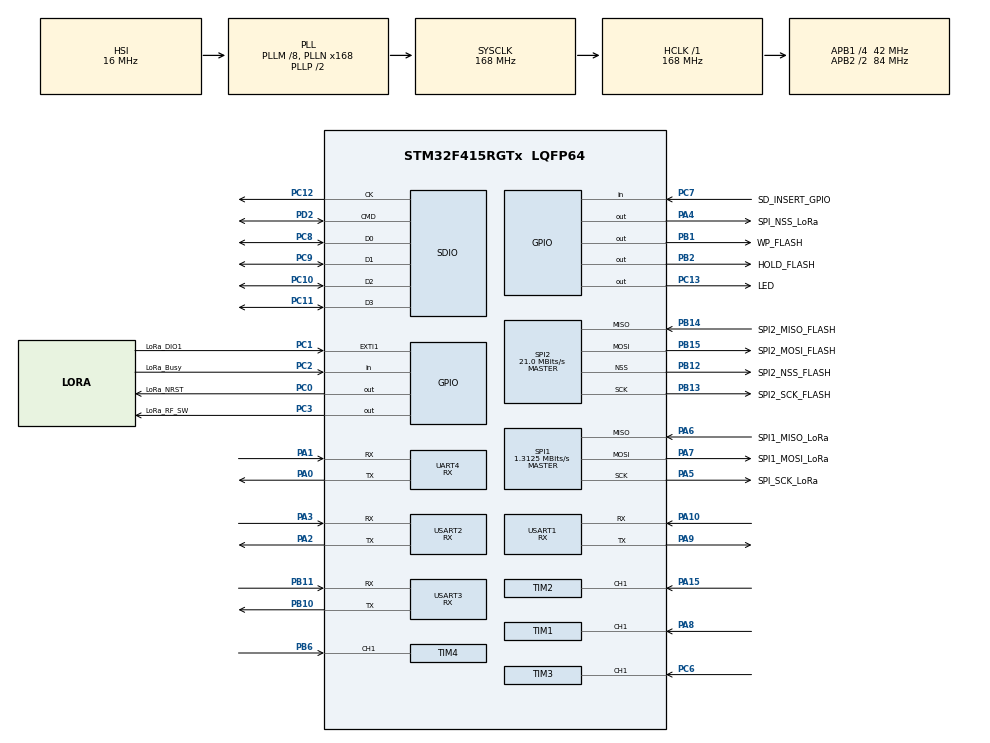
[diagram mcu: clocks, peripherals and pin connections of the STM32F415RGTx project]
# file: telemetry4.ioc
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ADC1.Channel-0\#ChannelRegularConversion=ADC_CHANNEL_VREFINT
ADC1.NbrOfConversionFlag=1
ADC1.Rank-0\#ChannelRegularConversion=1
ADC1.SamplingTime-0\#ChannelRegularConversion=ADC_SAMPLETIME_3CYCLES
ADC1.master=1
Dma.Request0=USART1_RX
Dma.Request1=USART2_RX
Dma.Request2=USART3_RX
Dma.Request3=UART4_RX
Dma.UART4_RX.3.Direction=DMA_PERIPH_TO_MEMORY
Dma.UART4_RX.3.FIFOMode=DMA_FIFOMODE_DISABLE
Dma.UART4_RX.3.Instance=DMA1_Stream2
Dma.UART4_RX.3.MemDataAlignment=DMA_MDATAALIGN_BYTE
Dma.UART4_RX.3.MemInc=DMA_MINC_ENABLE
Dma.UART4_RX.3.Mode=DMA_NORMAL
Dma.UART4_RX.3.PeriphDataAlignment=DMA_PDATAALIGN_BYTE
Dma.UART4_RX.3.PeriphInc=DMA_PINC_DISABLE
Dma.UART4_RX.3.Priority=DMA_PRIORITY_LOW
Dma.USART1_RX.0.Direction=DMA_PERIPH_TO_MEMORY
Dma.USART1_RX.0.FIFOMode=DMA_FIFOMODE_DISABLE
Dma.USART1_RX.0.Instance=DMA2_Stream2
Dma.USART1_RX.0.MemDataAlignment=DMA_MDATAALIGN_BYTE
Dma.USART1_RX.0.MemInc=DMA_MINC_ENABLE
Dma.USART1_RX.0.Mode=DMA_NORMAL
Dma.USART1_RX.0.PeriphDataAlignment=DMA_PDATAALIGN_BYTE
Dma.USART1_RX.0.PeriphInc=DMA_PINC_DISABLE
Dma.USART1_RX.0.Priority=DMA_PRIORITY_LOW
Dma.USART2_RX.1.Direction=DMA_PERIPH_TO_MEMORY
Dma.USART2_RX.1.FIFOMode=DMA_FIFOMODE_DISABLE
Dma.USART2_RX.1.Instance=DMA1_Stream5
Dma.USART2_RX.1.MemDataAlignment=DMA_MDATAALIGN_BYTE
Dma.USART2_RX.1.MemInc=DMA_MINC_ENABLE
Dma.USART2_RX.1.Mode=DMA_NORMAL
Dma.USART2_RX.1.PeriphDataAlignment=DMA_PDATAALIGN_BYTE
Dma.USART2_RX.1.PeriphInc=DMA_PINC_DISABLE
Dma.USART2_RX.1.Priority=DMA_PRIORITY_LOW
Dma.USART3_RX.2.Direction=DMA_PERIPH_TO_MEMORY
Dma.USART3_RX.2.FIFOMode=DMA_FIFOMODE_DISABLE
Dma.USART3_RX.2.Instance=DMA1_Stream1
Dma.USART3_RX.2.MemDataAlignment=DMA_MDATAALIGN_BYTE
Dma.USART3_RX.2.MemInc=DMA_MINC_ENABLE
Dma.USART3_RX.2.Mode=DMA_NORMAL
Dma.USART3_RX.2.PeriphDataAlignment=DMA_PDATAALIGN_BYTE
Dma.USART3_RX.2.PeriphInc=DMA_PINC_DISABLE
Dma.USART3_RX.2.Priority=DMA_PRIORITY_LOW
FATFS.BSP.number=1
FATFS.USE_DMA_CODE_SD=1
FATFS._USE_LFN=3
FATFS0.BSP.STBoard=false
FATFS0.BSP.api=Unknown
FATFS0.BSP.instance=PC7
FATFS0.BSP.ip=GPIO
FATFS0.BSP.mode=Input
FATFS0.BSP.name=Detect_SDIO
FATFS0.BSP.solution=PC7
Mcu.Family=STM32F4
Mcu.Name=STM32F415RGTx
Mcu.Package=LQFP64
NVIC.DMA1_Stream1_IRQn=true\:0\:0\:false\:false\:true\:false\:true\:true
NVIC.DMA1_Stream2_IRQn=true\:0\:0\:false\:false\:true\:false\:true\:true
NVIC.DMA1_Stream5_IRQn=true\:0\:0\:false\:false\:true\:false\:true\:true
NVIC.DMA2_Stream2_IRQn=true\:0\:0\:false\:false\:true\:false\:true\:true
NVIC.EXTI1_IRQn=true\:0\:0\:false\:false\:true\:true\:true\:true
NVIC.PriorityGroup=NVIC_PRIORITYGROUP_4
NVIC.SPI1_IRQn=true\:0\:0\:false\:false\:true\:true\:true\:true
NVIC.TIM1_CC_IRQn=true\:0\:0\:false\:false\:true\:true\:true\:true
NVIC.TIM2_IRQn=true\:0\:0\:false\:false\:true\:true\:true\:true
NVIC.TIM3_IRQn=true\:0\:0\:false\:false\:true\:true\:true\:true
NVIC.TIM4_IRQn=true\:0\:0\:false\:false\:true\:true\:true\:true
NVIC.UART4_IRQn=true\:0\:0\:false\:false\:true\:true\:true\:true
NVIC.USART1_IRQn=true\:0\:0\:false\:false\:true\:true\:true\:true
NVIC.USART2_IRQn=true\:0\:0\:false\:false\:true\:true\:true\:true
NVIC.USART3_IRQn=true\:0\:0\:false\:false\:true\:true\:true\:true
PA0-WKUP.Mode=Asynchronous
PA0-WKUP.Signal=UART4_TX
PA1.Mode=Asynchronous
PA1.Signal=UART4_RX
PA10.Mode=Asynchronous
PA10.Signal=USART1_RX
PA13.Mode=Trace_Asynchronous_SW
PA13.Signal=SYS_JTMS-SWDIO
PA14.Mode=Trace_Asynchronous_SW
PA14.Signal=SYS_JTCK-SWCLK
PA15.Signal=S_TIM2_CH1_ETR
PA2.Mode=Asynchronous
PA2.Signal=USART2_TX
PA3.Mode=Asynchronous
PA3.Signal=USART2_RX
PA4.GPIO_Label=SPI_NSS_LoRa
PA4.GPIO_Speed=GPIO_SPEED_FREQ_HIGH
PA4.PinState=GPIO_PIN_SET
PA4.Signal=GPIO_Output
PA5.GPIO_Label=SPI_SCK_LoRa
PA5.Mode=Full_Duplex_Master
PA5.Signal=SPI1_SCK
PA6.GPIO_Label=SPI1_MISO_LoRa
PA6.Mode=Full_Duplex_Master
PA6.Signal=SPI1_MISO
PA7.GPIO_Label=SPI1_MOSI_LoRa
PA7.Mode=Full_Duplex_Master
PA7.Signal=SPI1_MOSI
PA8.Signal=S_TIM1_CH1
PA9.Mode=Asynchronous
PA9.Signal=USART1_TX
PB1.GPIO_Label=WP_FLASH
PB1.Signal=GPIO_Output
PB10.Mode=Asynchronous
PB10.Signal=USART3_TX
PB11.Mode=Asynchronous
PB11.Signal=USART3_RX
PB12.GPIO_Label=SPI2_NSS_FLASH
PB12.Mode=NSS_Signal_Hard_Output
PB12.Signal=SPI2_NSS
PB13.GPIO_Label=SPI2_SCK_FLASH
PB13.Mode=Full_Duplex_Master
PB13.Signal=SPI2_SCK
PB14.GPIO_Label=SPI2_MISO_FLASH
PB14.Mode=Full_Duplex_Master
PB14.Signal=SPI2_MISO
PB15.GPIO_Label=SPI2_MOSI_FLASH
PB15.Mode=Full_Duplex_Master
PB15.Signal=SPI2_MOSI
PB2.GPIO_Label=HOLD_FLASH
PB2.Signal=GPIO_Output
PB3.Mode=Trace_Asynchronous_SW
PB3.Signal=SYS_JTDO-SWO
PB6.Signal=S_TIM4_CH1
PC0.GPIO_Label=LoRa_NRST
PC0.Signal=GPIO_Output
PC1.GPIO_Label=LoRa_DIO1
PC1.GPIO_PuPd=GPIO_NOPULL
PC1.Signal=GPXTI1
PC10.Mode=SD_4_bits_Wide_bus
PC10.Signal=SDIO_D2
PC11.Mode=SD_4_bits_Wide_bus
PC11.Signal=SDIO_D3
PC12.Mode=SD_4_bits_Wide_bus
PC12.Signal=SDIO_CK
PC13-ANTI_TAMP.GPIO_Label=LED
PC13-ANTI_TAMP.Signal=GPIO_Output
PC2.GPIO_Label=LoRa_Busy
PC2.Signal=GPIO_Input
PC3.GPIO_Label=LoRa_RF_SW
PC3.Signal=GPIO_Output
PC6.Signal=S_TIM3_CH1
PC7.GPIO_Label=SD_INSERT_GPIO
PC7.Signal=GPIO_Input
PC8.Mode=SD_4_bits_Wide_bus
PC8.Signal=SDIO_D0
PC9.Mode=SD_4_bits_Wide_bus
PC9.Signal=SDIO_D1
PD2.Mode=SD_4_bits_Wide_bus
PD2.Signal=SDIO_CMD
ProjectManager.HeapSize=0x200
ProjectManager.StackSize=0x400
ProjectManager.TargetToolchain=STM32CubeIDE
RCC.48MHZClocksFreq_Value=48000000
RCC.AHBFreq_Value=168000000
RCC.APB1CLKDivider=RCC_HCLK_DIV4
RCC.APB1Freq_Value=42000000
RCC.APB1TimFreq_Value=84000000
RCC.APB2CLKDivider=RCC_HCLK_DIV2
RCC.APB2Freq_Value=84000000
RCC.APB2TimFreq_Value=168000000
RCC.CortexFreq_Value=168000000
RCC.HCLKFreq_Value=168000000
RCC.HSE_VALUE=25000000
RCC.HSI_VALUE=16000000
RCC.LSE_VALUE=32768
RCC.PLLM=8
RCC.PLLN=168
RCC.PLLQ=7
RCC.SYSCLKFreq_VALUE=168000000
RCC.SYSCLKSource=RCC_SYSCLKSOURCE_PLLCLK
RCC.VCOOutputFreq_Value=336000000
SH.S_TIM1_CH1.0=TIM1_CH1,PWM_Input_1
SH.S_TIM2_CH1_ETR.0=TIM2_CH1,PWM_Input_1
SH.S_TIM3_CH1.0=TIM3_CH1,PWM_Input_1
SH.S_TIM4_CH1.0=TIM4_CH1,PWM_Input_1
SPI1.BaudRatePrescaler=SPI_BAUDRATEPRESCALER_64
SPI1.CRCCalculation=SPI_CRCCALCULATION_DISABLE
SPI1.CalculateBaudRate=1.3125 MBits/s
SPI1.Direction=SPI_DIRECTION_2LINES
SPI1.Mode=SPI_MODE_MASTER
SPI1.VirtualType=VM_MASTER
SPI2.BaudRatePrescaler=SPI_BAUDRATEPRESCALER_2
SPI2.CalculateBaudRate=21.0 MBits/s
SPI2.Direction=SPI_DIRECTION_2LINES
SPI2.Mode=SPI_MODE_MASTER
SPI2.VirtualNSS=VM_NSSHARD
SPI2.VirtualType=VM_MASTER
TIM1.Prescaler=167
TIM2.Prescaler=83
TIM3.Prescaler=83
TIM4.Prescaler=83
UART4.Mode=MODE_RX
UART4.VirtualMode=Asynchronous
USART1.Mode=MODE_RX
USART1.VirtualMode=VM_ASYNC
USART2.Mode=MODE_RX
USART2.VirtualMode=VM_ASYNC
USART3.Mode=MODE_RX
USART3.VirtualMode=VM_ASYNC
VP_ADC1_Vref_Input.Mode=IN-Vrefint
VP_FATFS_VS_SDIO.Mode=SDIO
VP_TIM1_VS_ClockSourceINT.Mode=Internal
VP_TIM2_VS_ClockSourceINT.Mode=Internal
VP_TIM3_VS_ClockSourceINT.Mode=Internal
VP_TIM4_VS_ClockSourceINT.Mode=Internal
board=custom

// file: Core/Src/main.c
/* USER CODE BEGIN Header */
/**
  ******************************************************************************
  * @file           : main.c
  * @brief          : Main program body
  ******************************************************************************
  * @attention
  *
  * Copyright (c) 2026 STMicroelectronics.
  * All rights reserved.
  *
  * This software is licensed under terms that can be found in the LICENSE file
  * in the root directory of this software component.
  * If no LICENSE file comes with this software, it is provided AS-IS.
  *
  ******************************************************************************
  */
/* USER CODE END Header */
#include "main.h"
#include "fatfs.h"

/* USER CODE BEGIN Includes */
#include <stdio.h>
/* USER CODE END Includes */

ADC_HandleTypeDef hadc1;

SD_HandleTypeDef hsd;

SPI_HandleTypeDef hspi1;
SPI_HandleTypeDef hspi2;

TIM_HandleTypeDef htim1;
TIM_HandleTypeDef htim2;
TIM_HandleTypeDef htim3;
TIM_HandleTypeDef htim4;

UART_HandleTypeDef huart4;
UART_HandleTypeDef huart1;
UART_HandleTypeDef huart2;
UART_HandleTypeDef huart3;
DMA_HandleTypeDef hdma_uart4_rx;
DMA_HandleTypeDef hdma_usart1_rx;
DMA_HandleTypeDef hdma_usart2_rx;
DMA_HandleTypeDef hdma_usart3_rx;

void SystemClock_Config(void);
static void MX_GPIO_Init(void);
static void MX_DMA_Init(void);
static void MX_ADC1_Init(void);
static void MX_SDIO_SD_Init(void);
static void MX_SPI1_Init(void);
static void MX_SPI2_Init(void);
static void MX_TIM1_Init(void);
static void MX_TIM2_Init(void);
static void MX_TIM3_Init(void);
static void MX_TIM4_Init(void);
static void MX_UART4_Init(void);
static void MX_USART1_UART_Init(void);
static void MX_USART2_UART_Init(void);
static void MX_USART3_UART_Init(void);

/* USER CODE BEGIN 0 */

uint32_t pwm_inputs[4] = {0,0,0,0};
uint8_t pwm_inputs_sent[4] = {1,1,1,1};
uint32_t pwm_inputs_last_tick[4] = {0,0,0,0};
TIM_TypeDef* timers[4] = {TIM2, TIM1, TIM3, TIM4};

uint8_t telemetry_inputs[4][11] = {0};
uint8_t telemetry_inputs_sent[4] = {1,1,1,1};
uint32_t telemetry_inputs_last_tick[4] = {0};
uint8_t telemetry_inputs_err[4] = {0};
uint16_t synced_pwm_inputs[4] = {0,0,0,0};

UART_HandleTypeDef* telemetry_uarts[4] = {&huart1, &huart3, &huart2, &huart4};
uint8_t handle_lora_irq = 0;

uint8_t telemetry_packet_buf[64][17];
uint8_t telemetry_buf_head = 0;//retrieve position
uint8_t telemetry_buf_tail = 0; //insert position

uint8_t* add_telemetry_buf(){ //pass back a pointer that can be used to add the data directly.
	uint8_t* return_val= telemetry_packet_buf[telemetry_buf_tail];
	telemetry_buf_tail++;
	telemetry_buf_tail = telemetry_buf_tail % 64;
	return return_val;
}

uint8_t* retrieve_telemetry_buf(){
	if(telemetry_buf_tail == telemetry_buf_head){
		return NULL;
	}

	uint8_t* return_val= telemetry_packet_buf[telemetry_buf_head];
	telemetry_buf_head++;
	telemetry_buf_head = telemetry_buf_head % 64;
	return return_val;

}

void construct_telem(){

}

uint8_t update_crc8(uint8_t crc, uint8_t crc_seed) {
	uint8_t crc_u, i;
	crc_u = crc;
	crc_u ^= crc_seed;
	for (i = 0; i < 8; i++)
		crc_u = (crc_u & 0x80) ? 0x7 ^ (crc_u << 1) : (crc_u << 1);
	return (crc_u);
}

uint8_t get_crc8(uint8_t *Buf, uint8_t BufLen) {
	uint8_t crc = 0, i;
	for (i = 0; i < BufLen; i++)
		crc = update_crc8(Buf[i], crc);
	return (crc);
}

int _write(int file, char *ptr, int len) {
 for (int i = 0; i < len; i++) {
 ITM_SendChar((*ptr++));
 }
 return len;
}

void HAL_TIM_IC_CaptureCallback(TIM_HandleTypeDef *htim) {
	for (int i = 0; i<4; i++)
		if (htim->Instance == timers[i]) {
			pwm_inputs[i] = HAL_TIM_ReadCapturedValue(htim, TIM_CHANNEL_2);
			//pwm_inputs_sent[i] = 0;
			//pwm_inputs_last_tick[i] = HAL_GetTick();
			return;
		}
}
void HAL_UART_RxCpltCallback(UART_HandleTypeDef *huart)
{
	for (int i = 0; i<4; i++){
		if(huart == telemetry_uarts[i]){
			if(get_crc8(telemetry_inputs[i], 9) == telemetry_inputs[i][9]){
				HAL_UART_Receive_DMA(huart, telemetry_inputs[i], 10);
				telemetry_inputs_err[i] = 0; //clear any errors since a proper message was received
				telemetry_inputs_sent[i] = 0;
				synced_pwm_inputs[i] = pwm_inputs[i];
				telemetry_inputs_last_tick[i] = HAL_GetTick();
			}
			else{
				telemetry_inputs_err[i] = 2;
				telemetry_inputs_sent[i] = 0;
				synced_pwm_inputs[i] = pwm_inputs[i];
				telemetry_inputs_last_tick[i] = HAL_GetTick();
			}
			return;
		}
	}
}

void HAL_SPI_RxCpltCallback(SPI_HandleTypeDef * hspi){
	HAL_GPIO_WritePin(SPI_NSS_LoRa_GPIO_Port, SPI_NSS_LoRa_Pin, GPIO_PIN_SET);
	printf("hi1");

	if (hspi == &hspi1){
		HAL_GPIO_WritePin(SPI_NSS_LoRa_GPIO_Port, SPI_NSS_LoRa_Pin, GPIO_PIN_SET);
	}
}
void HAL_SPI_TxCpltCallback(SPI_HandleTypeDef * hspi){
	HAL_GPIO_WritePin(SPI_NSS_LoRa_GPIO_Port, SPI_NSS_LoRa_Pin, GPIO_PIN_SET);
	printf("hi2");
	if (hspi == &hspi1){
		HAL_GPIO_WritePin(SPI_NSS_LoRa_GPIO_Port, SPI_NSS_LoRa_Pin, GPIO_PIN_SET);
	}
}
void HAL_SPI_TxRxCpltCallback(SPI_HandleTypeDef *hspi) {
	HAL_GPIO_WritePin(SPI_NSS_LoRa_GPIO_Port, SPI_NSS_LoRa_Pin, GPIO_PIN_SET);
}

void HAL_GPIO_EXTI_Callback(uint16_t GPIO_Pin)
{
  if(GPIO_Pin == LoRa_DIO1_Pin) {
	  handle_lora_irq = 1;
  }
}

void HAL_UART_ErrorCallback(UART_HandleTypeDef *huart) {
	__HAL_UART_CLEAR_FLAG(huart, huart->ErrorCode);
	printf("oops");
	for (int i = 0; i<4; i++){
		if(huart == telemetry_uarts[i]){
			telemetry_inputs_err[i] = 1;
			telemetry_inputs_sent[i] = 0;
			synced_pwm_inputs[i] = pwm_inputs[i];
			telemetry_inputs_last_tick[i] = HAL_GetTick();
		}
	}

}

/* USER CODE END 0 */

int main(void)
{

  /* MCU Configuration--------------------------------------------------------*/

  /* Reset of all peripherals, Initializes the Flash interface and the Systick. */
  HAL_Init();

  /* Configure the system clock */
  SystemClock_Config();

  /* Initialize all configured peripherals */
  MX_GPIO_Init();
  MX_DMA_Init();
  MX_ADC1_Init();
  MX_SDIO_SD_Init();
  MX_SPI1_Init();
  MX_SPI2_Init();
  MX_TIM1_Init();
  MX_TIM2_Init();
  MX_TIM3_Init();
  MX_TIM4_Init();
  MX_UART4_Init();
  MX_USART1_UART_Init();
  MX_USART2_UART_Init();
  MX_USART3_UART_Init();
  MX_FATFS_Init();
  /* USER CODE BEGIN 2 */
  HAL_TIM_IC_Start_IT(&htim1, TIM_CHANNEL_1); // Primary channel - rising edge
  HAL_TIM_IC_Start(&htim1, TIM_CHANNEL_2);    // Secondary channel - falling edge

  HAL_TIM_IC_Start_IT(&htim2, TIM_CHANNEL_1); // Primary channel - rising edge
  HAL_TIM_IC_Start(&htim2, TIM_CHANNEL_2);    // Secondary channel - falling edge

  HAL_TIM_IC_Start_IT(&htim3, TIM_CHANNEL_1); // Primary channel - rising edge
  HAL_TIM_IC_Start(&htim3, TIM_CHANNEL_2);    // Secondary channel - falling edge

  HAL_TIM_IC_Start_IT(&htim4, TIM_CHANNEL_1); // Primary channel - rising edge
  HAL_TIM_IC_Start(&htim4, TIM_CHANNEL_2);    // Secondary channel - falling edge

  HAL_Delay(5);
	for (int i = 0; i<4; i++){
		HAL_UART_Receive_DMA(telemetry_uarts[i], telemetry_inputs[i], 10);
	}
	LoRa_Reset();
	LoRa_initialize(hspi1);
	uint8_t initializer[17] = {0xFF, 0xFE, 0xFD, 0xFC, 0xFB, 0xFA, 0xF9, 0xF8, 0xF7,0xF6,0xF5,0xF4,0xF3,0xF2,0xF1,0xF0, 0xEF};
	//LoRa_write_buf(0, test_TX_reg, 7);
	//HAL_Delay(10);
	//LoRa_set_tx(0x00FFFF);
	HAL_Delay(10);
	LoRa_tx(initializer, 17, 0x00FFFF);
	HAL_Delay(10);

	//printf("\n");

	/*
	uint8_t test_rx_reg[1] = {4};
	uint8_t test_TX_reg[1] = {0xFA};
	printf("Pre Read: %X \n", test_rx_reg[0]);
	LoRa_read_reg(0x08AC, test_rx_reg, 1);
	HAL_Delay(1000);
	printf("Initial Read: %X \n", test_rx_reg[0]);

	LoRa_read_reg(0x06CD, test_rx_reg, 1);
	HAL_Delay(1000);
	printf("Second Read: %X \n", test_rx_reg[0]);

	LoRa_write_reg(0x06CD, test_TX_reg, 1);
	HAL_Delay(1000);

	LoRa_read_reg(0x06CD, test_rx_reg, 1);
	HAL_Delay(1000);
	printf("Second Read: %X \n", test_rx_reg[0]);*/

  /* USER CODE END 2 */

  /* Infinite loop */
  while (1)
  {

    /* USER CODE BEGIN 3 */

	  if(handle_lora_irq){
		  LoRa_HandleTXIrq();
		  handle_lora_irq = 0;
	  }
	  /*
	  for (int i=0; i<4; i++){
			if(!pwm_inputs_sent[i]){
				//HAL_GPIO_TogglePin (LED_GPIO_Port, LED_Pin);
				//printf("%c %u \n", 65+i, pwm_inputs[i]);
				pwm_inputs_sent[i] = 1;
			}
	  }*/

	  for (int i=0; i<4; i++){

			if(!telemetry_inputs_sent[i] && telemetry_inputs_err[i] == 0){
				HAL_GPIO_TogglePin (LED_GPIO_Port, LED_Pin);
				/*
				printf("%c ", 65+i);
				printf("Temp: %u ", telemetry_inputs[i][0]);
				printf("V: %u ", (telemetry_inputs[i][1]<<8) + telemetry_inputs[i][2]);
				printf("A: %u ", (telemetry_inputs[i][3]<<8) + telemetry_inputs[i][4]);
				printf("mAh: %u ", (telemetry_inputs[i][5]<<8) + telemetry_inputs[i][6]);
				printf("RPM: %u ", (telemetry_inputs[i][7]<<8) + telemetry_inputs[i][8]);
				printf("\n ");*/
				//if(LoRa_tx_ready() && (!LoRa_is_busy())){
				  //printf("1 %d \n", HAL_GetTick());

				  uint8_t* telemetry_packet = add_telemetry_buf();
				  telemetry_packet[0] = i;
				  telemetry_packet[11] = synced_pwm_inputs[i]>>8;
				  telemetry_packet[12] = synced_pwm_inputs[i];
				  telemetry_packet[13] = telemetry_inputs_last_tick[i]>>24;
				  telemetry_packet[14] = telemetry_inputs_last_tick[i]>>16;
				  telemetry_packet[15] = telemetry_inputs_last_tick[i]>>8;
				  telemetry_packet[16] = telemetry_inputs_last_tick[i];
				  memcpy(telemetry_packet + 1, telemetry_inputs[i], 10);
				  telemetry_inputs_sent[i] = 1;
				  //printf("2 %d %d \n", i, HAL_GetTick());

			  //}
			}

			else if(telemetry_inputs_err[i] != 0){
				if(!telemetry_inputs_sent[i]){
					  uint8_t* telemetry_packet = add_telemetry_buf();
					  telemetry_packet[0] = i + (0b11<<2); //indicate error
					  telemetry_packet[1] = telemetry_inputs_err[i];

					  telemetry_packet[13] = telemetry_inputs_last_tick[i]>>24;
					  telemetry_packet[14] = telemetry_inputs_last_tick[i]>>16;
					  telemetry_packet[15] = telemetry_inputs_last_tick[i]>>8;
					  telemetry_packet[16] = telemetry_inputs_last_tick[i];
					  telemetry_inputs_sent[i] = 1;
					  memcpy(telemetry_packet + 2, telemetry_inputs[i],9);

				}

				if(telemetry_inputs_last_tick[i] +5 < HAL_GetTick()){
					HAL_UART_Receive_DMA(telemetry_uarts[i], telemetry_inputs[i], 10);
				}
			}
	  }

	  //Send if anything is on the queue
	  if(LoRa_tx_ready() && (!LoRa_is_busy())){
		  uint8_t* telemetry_queue_ptr = retrieve_telemetry_buf();
		  if(telemetry_queue_ptr != NULL){
			  LoRa_tx(telemetry_queue_ptr, 17, 0x00FFFF);
		  }
	  }
  }
  /* USER CODE END 3 */
}

void SystemClock_Config(void)
{
  RCC_OscInitTypeDef RCC_OscInitStruct = {0};
  RCC_ClkInitTypeDef RCC_ClkInitStruct = {0};

  /** Configure the main internal regulator output voltage
  */
  __HAL_RCC_PWR_CLK_ENABLE();
  __HAL_PWR_VOLTAGESCALING_CONFIG(PWR_REGULATOR_VOLTAGE_SCALE1);

  /** Initializes the RCC Oscillators according to the specified parameters
  * in the RCC_OscInitTypeDef structure.
  */
  RCC_OscInitStruct.OscillatorType = RCC_OSCILLATORTYPE_HSI;
  RCC_OscInitStruct.HSIState = RCC_HSI_ON;
  RCC_OscInitStruct.HSICalibrationValue = RCC_HSICALIBRATION_DEFAULT;
  RCC_OscInitStruct.PLL.PLLState = RCC_PLL_ON;
  RCC_OscInitStruct.PLL.PLLSource = RCC_PLLSOURCE_HSI;
  RCC_OscInitStruct.PLL.PLLM = 8;
  RCC_OscInitStruct.PLL.PLLN = 168;
  RCC_OscInitStruct.PLL.PLLP = RCC_PLLP_DIV2;
  RCC_OscInitStruct.PLL.PLLQ = 7;
  if (HAL_RCC_OscConfig(&RCC_OscInitStruct) != HAL_OK)
  {
    Error_Handler();
  }

  /** Initializes the CPU, AHB and APB buses clocks
  */
  RCC_ClkInitStruct.ClockType = RCC_CLOCKTYPE_HCLK|RCC_CLOCKTYPE_SYSCLK
                              |RCC_CLOCKTYPE_PCLK1|RCC_CLOCKTYPE_PCLK2;
  RCC_ClkInitStruct.SYSCLKSource = RCC_SYSCLKSOURCE_PLLCLK;
  RCC_ClkInitStruct.AHBCLKDivider = RCC_SYSCLK_DIV1;
  RCC_ClkInitStruct.APB1CLKDivider = RCC_HCLK_DIV4;
  RCC_ClkInitStruct.APB2CLKDivider = RCC_HCLK_DIV2;

  if (HAL_RCC_ClockConfig(&RCC_ClkInitStruct, FLASH_LATENCY_5) != HAL_OK)
  {
    Error_Handler();
  }
}

static void MX_ADC1_Init(void)
{

  ADC_ChannelConfTypeDef sConfig = {0};

  /** Configure the global features of the ADC (Clock, Resolution, Data Alignment and number of conversion)
  */
  hadc1.Instance = ADC1;
  hadc1.Init.ClockPrescaler = ADC_CLOCK_SYNC_PCLK_DIV4;
  hadc1.Init.Resolution = ADC_RESOLUTION_12B;
  hadc1.Init.ScanConvMode = DISABLE;
  hadc1.Init.ContinuousConvMode = DISABLE;
  hadc1.Init.DiscontinuousConvMode = DISABLE;
  hadc1.Init.ExternalTrigConvEdge = ADC_EXTERNALTRIGCONVEDGE_NONE;
  hadc1.Init.ExternalTrigConv = ADC_SOFTWARE_START;
  hadc1.Init.DataAlign = ADC_DATAALIGN_RIGHT;
  hadc1.Init.NbrOfConversion = 1;
  hadc1.Init.DMAContinuousRequests = DISABLE;
  hadc1.Init.EOCSelection = ADC_EOC_SINGLE_CONV;
  if (HAL_ADC_Init(&hadc1) != HAL_OK)
  {
    Error_Handler();
  }

  /** Configure for the selected ADC regular channel its corresponding rank in the sequencer and its sample time.
  */
  sConfig.Channel = ADC_CHANNEL_VREFINT;
  sConfig.Rank = 1;
  sConfig.SamplingTime = ADC_SAMPLETIME_3CYCLES;
  if (HAL_ADC_ConfigChannel(&hadc1, &sConfig) != HAL_OK)
  {
    Error_Handler();
  }

}

static void MX_SDIO_SD_Init(void)
{

  hsd.Instance = SDIO;
  hsd.Init.ClockEdge = SDIO_CLOCK_EDGE_RISING;
  hsd.Init.ClockBypass = SDIO_CLOCK_BYPASS_DISABLE;
  hsd.Init.ClockPowerSave = SDIO_CLOCK_POWER_SAVE_DISABLE;
  hsd.Init.BusWide = SDIO_BUS_WIDE_4B;
  hsd.Init.HardwareFlowControl = SDIO_HARDWARE_FLOW_CONTROL_DISABLE;
  hsd.Init.ClockDiv = 0;

}

static void MX_SPI1_Init(void)
{

  /* SPI1 parameter configuration*/
  hspi1.Instance = SPI1;
  hspi1.Init.Mode = SPI_MODE_MASTER;
  hspi1.Init.Direction = SPI_DIRECTION_2LINES;
  hspi1.Init.DataSize = SPI_DATASIZE_8BIT;
  hspi1.Init.CLKPolarity = SPI_POLARITY_LOW;
  hspi1.Init.CLKPhase = SPI_PHASE_1EDGE;
  hspi1.Init.NSS = SPI_NSS_SOFT;
  hspi1.Init.BaudRatePrescaler = SPI_BAUDRATEPRESCALER_64;
  hspi1.Init.FirstBit = SPI_FIRSTBIT_MSB;
  hspi1.Init.TIMode = SPI_TIMODE_DISABLE;
  hspi1.Init.CRCCalculation = SPI_CRCCALCULATION_DISABLE;
  hspi1.Init.CRCPolynomial = 10;
  if (HAL_SPI_Init(&hspi1) != HAL_OK)
  {
    Error_Handler();
  }

}

static void MX_SPI2_Init(void)
{

  /* SPI2 parameter configuration*/
  hspi2.Instance = SPI2;
  hspi2.Init.Mode = SPI_MODE_MASTER;
  hspi2.Init.Direction = SPI_DIRECTION_2LINES;
  hspi2.Init.DataSize = SPI_DATASIZE_8BIT;
  hspi2.Init.CLKPolarity = SPI_POLARITY_LOW;
  hspi2.Init.CLKPhase = SPI_PHASE_1EDGE;
  hspi2.Init.NSS = SPI_NSS_HARD_OUTPUT;
  hspi2.Init.BaudRatePrescaler = SPI_BAUDRATEPRESCALER_2;
  hspi2.Init.FirstBit = SPI_FIRSTBIT_MSB;
  hspi2.Init.TIMode = SPI_TIMODE_DISABLE;
  hspi2.Init.CRCCalculation = SPI_CRCCALCULATION_DISABLE;
  hspi2.Init.CRCPolynomial = 10;
  if (HAL_SPI_Init(&hspi2) != HAL_OK)
  {
    Error_Handler();
  }

}

static void MX_TIM1_Init(void)
{

  TIM_ClockConfigTypeDef sClockSourceConfig = {0};
  TIM_SlaveConfigTypeDef sSlaveConfig = {0};
  TIM_IC_InitTypeDef sConfigIC = {0};
  TIM_MasterConfigTypeDef sMasterConfig = {0};

  htim1.Instance = TIM1;
  htim1.Init.Prescaler = 167;
  htim1.Init.CounterMode = TIM_COUNTERMODE_UP;
  htim1.Init.Period = 65535;
  htim1.Init.ClockDivision = TIM_CLOCKDIVISION_DIV1;
  htim1.Init.RepetitionCounter = 0;
  htim1.Init.AutoReloadPreload = TIM_AUTORELOAD_PRELOAD_DISABLE;
  if (HAL_TIM_Base_Init(&htim1) != HAL_OK)
  {
    Error_Handler();
  }
  sClockSourceConfig.ClockSource = TIM_CLOCKSOURCE_INTERNAL;
  if (HAL_TIM_ConfigClockSource(&htim1, &sClockSourceConfig) != HAL_OK)
  {
    Error_Handler();
  }
  if (HAL_TIM_IC_Init(&htim1) != HAL_OK)
  {
    Error_Handler();
  }
  sSlaveConfig.SlaveMode = TIM_SLAVEMODE_RESET;
  sSlaveConfig.InputTrigger = TIM_TS_TI1FP1;
  sSlaveConfig.TriggerPolarity = TIM_INPUTCHANNELPOLARITY_RISING;
  sSlaveConfig.TriggerPrescaler = TIM_ICPSC_DIV1;
  sSlaveConfig.TriggerFilter = 0;
  if (HAL_TIM_SlaveConfigSynchro(&htim1, &sSlaveConfig) != HAL_OK)
  {
    Error_Handler();
  }
  sConfigIC.ICPolarity = TIM_INPUTCHANNELPOLARITY_RISING;
  sConfigIC.ICSelection = TIM_ICSELECTION_DIRECTTI;
  sConfigIC.ICPrescaler = TIM_ICPSC_DIV1;
  sConfigIC.ICFilter = 0;
  if (HAL_TIM_IC_ConfigChannel(&htim1, &sConfigIC, TIM_CHANNEL_1) != HAL_OK)
  {
    Error_Handler();
  }
  sConfigIC.ICPolarity = TIM_INPUTCHANNELPOLARITY_FALLING;
  sConfigIC.ICSelection = TIM_ICSELECTION_INDIRECTTI;
  if (HAL_TIM_IC_ConfigChannel(&htim1, &sConfigIC, TIM_CHANNEL_2) != HAL_OK)
  {
    Error_Handler();
  }
  sMasterConfig.MasterOutputTrigger = TIM_TRGO_RESET;
  sMasterConfig.MasterSlaveMode = TIM_MASTERSLAVEMODE_DISABLE;
  if (HAL_TIMEx_MasterConfigSynchronization(&htim1, &sMasterConfig) != HAL_OK)
  {
    Error_Handler();
  }

}

static void MX_TIM2_Init(void)
{

  TIM_ClockConfigTypeDef sClockSourceConfig = {0};
  TIM_SlaveConfigTypeDef sSlaveConfig = {0};
  TIM_IC_InitTypeDef sConfigIC = {0};
  TIM_MasterConfigTypeDef sMasterConfig = {0};

  htim2.Instance = TIM2;
  htim2.Init.Prescaler = 83;
  htim2.Init.CounterMode = TIM_COUNTERMODE_UP;
  htim2.Init.Period = 4294967295;
  htim2.Init.ClockDivision = TIM_CLOCKDIVISION_DIV1;
  htim2.Init.AutoReloadPreload = TIM_AUTORELOAD_PRELOAD_DISABLE;
  if (HAL_TIM_Base_Init(&htim2) != HAL_OK)
  {
    Error_Handler();
  }
  sClockSourceConfig.ClockSource = TIM_CLOCKSOURCE_INTERNAL;
  if (HAL_TIM_ConfigClockSource(&htim2, &sClockSourceConfig) != HAL_OK)
  {
    Error_Handler();
  }
  if (HAL_TIM_IC_Init(&htim2) != HAL_OK)
  {
    Error_Handler();
  }
  sSlaveConfig.SlaveMode = TIM_SLAVEMODE_RESET;
  sSlaveConfig.InputTrigger = TIM_TS_TI1FP1;
  sSlaveConfig.TriggerPolarity = TIM_INPUTCHANNELPOLARITY_RISING;
  sSlaveConfig.TriggerPrescaler = TIM_ICPSC_DIV1;
  sSlaveConfig.TriggerFilter = 0;
  if (HAL_TIM_SlaveConfigSynchro(&htim2, &sSlaveConfig) != HAL_OK)
  {
    Error_Handler();
  }
  sConfigIC.ICPolarity = TIM_INPUTCHANNELPOLARITY_RISING;
  sConfigIC.ICSelection = TIM_ICSELECTION_DIRECTTI;
  sConfigIC.ICPrescaler = TIM_ICPSC_DIV1;
  sConfigIC.ICFilter = 0;
  if (HAL_TIM_IC_ConfigChannel(&htim2, &sConfigIC, TIM_CHANNEL_1) != HAL_OK)
  {
    Error_Handler();
  }
  sConfigIC.ICPolarity = TIM_INPUTCHANNELPOLARITY_FALLING;
  sConfigIC.ICSelection = TIM_ICSELECTION_INDIRECTTI;
  if (HAL_TIM_IC_ConfigChannel(&htim2, &sConfigIC, TIM_CHANNEL_2) != HAL_OK)
  {
    Error_Handler();
  }
  sMasterConfig.MasterOutputTrigger = TIM_TRGO_RESET;
  sMasterConfig.MasterSlaveMode = TIM_MASTERSLAVEMODE_DISABLE;
  if (HAL_TIMEx_MasterConfigSynchronization(&htim2, &sMasterConfig) != HAL_OK)
  {
    Error_Handler();
  }

}

static void MX_TIM3_Init(void)
{

  TIM_ClockConfigTypeDef sClockSourceConfig = {0};
  TIM_SlaveConfigTypeDef sSlaveConfig = {0};
  TIM_IC_InitTypeDef sConfigIC = {0};
  TIM_MasterConfigTypeDef sMasterConfig = {0};

  htim3.Instance = TIM3;
  htim3.Init.Prescaler = 83;
  htim3.Init.CounterMode = TIM_COUNTERMODE_UP;
  htim3.Init.Period = 65535;
  htim3.Init.ClockDivision = TIM_CLOCKDIVISION_DIV1;
  htim3.Init.AutoReloadPreload = TIM_AUTORELOAD_PRELOAD_DISABLE;
  if (HAL_TIM_Base_Init(&htim3) != HAL_OK)
  {
    Error_Handler();
  }
  sClockSourceConfig.ClockSource = TIM_CLOCKSOURCE_INTERNAL;
  if (HAL_TIM_ConfigClockSource(&htim3, &sClockSourceConfig) != HAL_OK)
  {
    Error_Handler();
  }
  if (HAL_TIM_IC_Init(&htim3) != HAL_OK)
  {
    Error_Handler();
  }
  sSlaveConfig.SlaveMode = TIM_SLAVEMODE_RESET;
  sSlaveConfig.InputTrigger = TIM_TS_TI1FP1;
  sSlaveConfig.TriggerPolarity = TIM_INPUTCHANNELPOLARITY_RISING;
  sSlaveConfig.TriggerPrescaler = TIM_ICPSC_DIV1;
  sSlaveConfig.TriggerFilter = 0;
  if (HAL_TIM_SlaveConfigSynchro(&htim3, &sSlaveConfig) != HAL_OK)
  {
    Error_Handler();
  }
  sConfigIC.ICPolarity = TIM_INPUTCHANNELPOLARITY_RISING;
  sConfigIC.ICSelection = TIM_ICSELECTION_DIRECTTI;
  sConfigIC.ICPrescaler = TIM_ICPSC_DIV1;
  sConfigIC.ICFilter = 0;
  if (HAL_TIM_IC_ConfigChannel(&htim3, &sConfigIC, TIM_CHANNEL_1) != HAL_OK)
  {
    Error_Handler();
  }
  sConfigIC.ICPolarity = TIM_INPUTCHANNELPOLARITY_FALLING;
  sConfigIC.ICSelection = TIM_ICSELECTION_INDIRECTTI;
  if (HAL_TIM_IC_ConfigChannel(&htim3, &sConfigIC, TIM_CHANNEL_2) != HAL_OK)
  {
    Error_Handler();
  }
  sMasterConfig.MasterOutputTrigger = TIM_TRGO_RESET;
  sMasterConfig.MasterSlaveMode = TIM_MASTERSLAVEMODE_DISABLE;
  if (HAL_TIMEx_MasterConfigSynchronization(&htim3, &sMasterConfig) != HAL_OK)
  {
    Error_Handler();
  }

}

static void MX_TIM4_Init(void)
{

  TIM_ClockConfigTypeDef sClockSourceConfig = {0};
  TIM_SlaveConfigTypeDef sSlaveConfig = {0};
  TIM_IC_InitTypeDef sConfigIC = {0};
  TIM_MasterConfigTypeDef sMasterConfig = {0};

  htim4.Instance = TIM4;
  htim4.Init.Prescaler = 83;
  htim4.Init.CounterMode = TIM_COUNTERMODE_UP;
  htim4.Init.Period = 65535;
  htim4.Init.ClockDivision = TIM_CLOCKDIVISION_DIV1;
  htim4.Init.AutoReloadPreload = TIM_AUTORELOAD_PRELOAD_DISABLE;
  if (HAL_TIM_Base_Init(&htim4) != HAL_OK)
  {
    Error_Handler();
  }
  sClockSourceConfig.ClockSource = TIM_CLOCKSOURCE_INTERNAL;
  if (HAL_TIM_ConfigClockSource(&htim4, &sClockSourceConfig) != HAL_OK)
  {
    Error_Handler();
  }
  if (HAL_TIM_IC_Init(&htim4) != HAL_OK)
  {
    Error_Handler();
  }
  sSlaveConfig.SlaveMode = TIM_SLAVEMODE_RESET;
  sSlaveConfig.InputTrigger = TIM_TS_TI1FP1;
  sSlaveConfig.TriggerPolarity = TIM_INPUTCHANNELPOLARITY_RISING;
  sSlaveConfig.TriggerPrescaler = TIM_ICPSC_DIV1;
  sSlaveConfig.TriggerFilter = 0;
  if (HAL_TIM_SlaveConfigSynchro(&htim4, &sSlaveConfig) != HAL_OK)
  {
    Error_Handler();
  }
  sConfigIC.ICPolarity = TIM_INPUTCHANNELPOLARITY_RISING;
  sConfigIC.ICSelection = TIM_ICSELECTION_DIRECTTI;
  sConfigIC.ICPrescaler = TIM_ICPSC_DIV1;
  sConfigIC.ICFilter = 0;
  if (HAL_TIM_IC_ConfigChannel(&htim4, &sConfigIC, TIM_CHANNEL_1) != HAL_OK)
  {
    Error_Handler();
  }
  sConfigIC.ICPolarity = TIM_INPUTCHANNELPOLARITY_FALLING;
  sConfigIC.ICSelection = TIM_ICSELECTION_INDIRECTTI;
  if (HAL_TIM_IC_ConfigChannel(&htim4, &sConfigIC, TIM_CHANNEL_2) != HAL_OK)
  {
    Error_Handler();
  }
  sMasterConfig.MasterOutputTrigger = TIM_TRGO_RESET;
  sMasterConfig.MasterSlaveMode = TIM_MASTERSLAVEMODE_DISABLE;
  if (HAL_TIMEx_MasterConfigSynchronization(&htim4, &sMasterConfig) != HAL_OK)
  {
    Error_Handler();
  }

}

static void MX_UART4_Init(void)
{

  huart4.Instance = UART4;
  huart4.Init.BaudRate = 115200;
  huart4.Init.WordLength = UART_WORDLENGTH_8B;
  huart4.Init.StopBits = UART_STOPBITS_1;
  huart4.Init.Parity = UART_PARITY_NONE;
  huart4.Init.Mode = UART_MODE_RX;
  huart4.Init.HwFlowCtl = UART_HWCONTROL_NONE;
  huart4.Init.OverSampling = UART_OVERSAMPLING_16;
  if (HAL_UART_Init(&huart4) != HAL_OK)
  {
    Error_Handler();
  }

}

static void MX_USART1_UART_Init(void)
{

  huart1.Instance = USART1;
  huart1.Init.BaudRate = 115200;
  huart1.Init.WordLength = UART_WORDLENGTH_8B;
  huart1.Init.StopBits = UART_STOPBITS_1;
  huart1.Init.Parity = UART_PARITY_NONE;
  huart1.Init.Mode = UART_MODE_RX;
  huart1.Init.HwFlowCtl = UART_HWCONTROL_NONE;
  huart1.Init.OverSampling = UART_OVERSAMPLING_16;
  if (HAL_UART_Init(&huart1) != HAL_OK)
  {
    Error_Handler();
  }

}

static void MX_USART2_UART_Init(void)
{

  huart2.Instance = USART2;
  huart2.Init.BaudRate = 115200;
  huart2.Init.WordLength = UART_WORDLENGTH_8B;
  huart2.Init.StopBits = UART_STOPBITS_1;
  huart2.Init.Parity = UART_PARITY_NONE;
  huart2.Init.Mode = UART_MODE_RX;
  huart2.Init.HwFlowCtl = UART_HWCONTROL_NONE;
  huart2.Init.OverSampling = UART_OVERSAMPLING_16;
  if (HAL_UART_Init(&huart2) != HAL_OK)
  {
    Error_Handler();
  }

}

static void MX_USART3_UART_Init(void)
{

  huart3.Instance = USART3;
  huart3.Init.BaudRate = 115200;
  huart3.Init.WordLength = UART_WORDLENGTH_8B;
  huart3.Init.StopBits = UART_STOPBITS_1;
  huart3.Init.Parity = UART_PARITY_NONE;
  huart3.Init.Mode = UART_MODE_RX;
  huart3.Init.HwFlowCtl = UART_HWCONTROL_NONE;
  huart3.Init.OverSampling = UART_OVERSAMPLING_16;
  if (HAL_UART_Init(&huart3) != HAL_OK)
  {
    Error_Handler();
  }

}

static void MX_DMA_Init(void)
{

  /* DMA controller clock enable */
  __HAL_RCC_DMA2_CLK_ENABLE();
  __HAL_RCC_DMA1_CLK_ENABLE();

  /* DMA interrupt init */
  /* DMA1_Stream1_IRQn interrupt configuration */
  HAL_NVIC_SetPriority(DMA1_Stream1_IRQn, 0, 0);
  HAL_NVIC_EnableIRQ(DMA1_Stream1_IRQn);
  /* DMA1_Stream2_IRQn interrupt configuration */
  HAL_NVIC_SetPriority(DMA1_Stream2_IRQn, 0, 0);
  HAL_NVIC_EnableIRQ(DMA1_Stream2_IRQn);
  /* DMA1_Stream5_IRQn interrupt configuration */
  HAL_NVIC_SetPriority(DMA1_Stream5_IRQn, 0, 0);
  HAL_NVIC_EnableIRQ(DMA1_Stream5_IRQn);
  /* DMA2_Stream2_IRQn interrupt configuration */
  HAL_NVIC_SetPriority(DMA2_Stream2_IRQn, 0, 0);
  HAL_NVIC_EnableIRQ(DMA2_Stream2_IRQn);

}

static void MX_GPIO_Init(void)
{
  GPIO_InitTypeDef GPIO_InitStruct = {0};

  /* GPIO Ports Clock Enable */
  __HAL_RCC_GPIOC_CLK_ENABLE();
  __HAL_RCC_GPIOA_CLK_ENABLE();
  __HAL_RCC_GPIOB_CLK_ENABLE();
  __HAL_RCC_GPIOD_CLK_ENABLE();

  /*Configure GPIO pin Output Level */
  HAL_GPIO_WritePin(GPIOC, LED_Pin|LoRa_NRST_Pin|LoRa_RF_SW_Pin, GPIO_PIN_RESET);

  /*Configure GPIO pin Output Level */
  HAL_GPIO_WritePin(SPI_NSS_LoRa_GPIO_Port, SPI_NSS_LoRa_Pin, GPIO_PIN_SET);

  /*Configure GPIO pin Output Level */
  HAL_GPIO_WritePin(GPIOB, WP_FLASH_Pin|HOLD_FLASH_Pin, GPIO_PIN_RESET);

  /*Configure GPIO pins : LED_Pin LoRa_NRST_Pin LoRa_RF_SW_Pin */
  GPIO_InitStruct.Pin = LED_Pin|LoRa_NRST_Pin|LoRa_RF_SW_Pin;
  GPIO_InitStruct.Mode = GPIO_MODE_OUTPUT_PP;
  GPIO_InitStruct.Pull = GPIO_NOPULL;
  GPIO_InitStruct.Speed = GPIO_SPEED_FREQ_LOW;
  HAL_GPIO_Init(GPIOC, &GPIO_InitStruct);

  /*Configure GPIO pin : LoRa_DIO1_Pin */
  GPIO_InitStruct.Pin = LoRa_DIO1_Pin;
  GPIO_InitStruct.Mode = GPIO_MODE_IT_RISING;
  GPIO_InitStruct.Pull = GPIO_NOPULL;
  HAL_GPIO_Init(LoRa_DIO1_GPIO_Port, &GPIO_InitStruct);

  /*Configure GPIO pins : LoRa_Busy_Pin SD_INSERT_GPIO_Pin */
  GPIO_InitStruct.Pin = LoRa_Busy_Pin|SD_INSERT_GPIO_Pin;
  GPIO_InitStruct.Mode = GPIO_MODE_INPUT;
  GPIO_InitStruct.Pull = GPIO_NOPULL;
  HAL_GPIO_Init(GPIOC, &GPIO_InitStruct);

  /*Configure GPIO pin : SPI_NSS_LoRa_Pin */
  GPIO_InitStruct.Pin = SPI_NSS_LoRa_Pin;
  GPIO_InitStruct.Mode = GPIO_MODE_OUTPUT_PP;
  GPIO_InitStruct.Pull = GPIO_NOPULL;
  GPIO_InitStruct.Speed = GPIO_SPEED_FREQ_HIGH;
  HAL_GPIO_Init(SPI_NSS_LoRa_GPIO_Port, &GPIO_InitStruct);

  /*Configure GPIO pins : WP_FLASH_Pin HOLD_FLASH_Pin */
  GPIO_InitStruct.Pin = WP_FLASH_Pin|HOLD_FLASH_Pin;
  GPIO_InitStruct.Mode = GPIO_MODE_OUTPUT_PP;
  GPIO_InitStruct.Pull = GPIO_NOPULL;
  GPIO_InitStruct.Speed = GPIO_SPEED_FREQ_LOW;
  HAL_GPIO_Init(GPIOB, &GPIO_InitStruct);

  /* EXTI interrupt init*/
  HAL_NVIC_SetPriority(EXTI1_IRQn, 0, 0);
  HAL_NVIC_EnableIRQ(EXTI1_IRQn);

}

void Error_Handler(void)
{
  __disable_irq();
  while (1)
  {
  }
}
